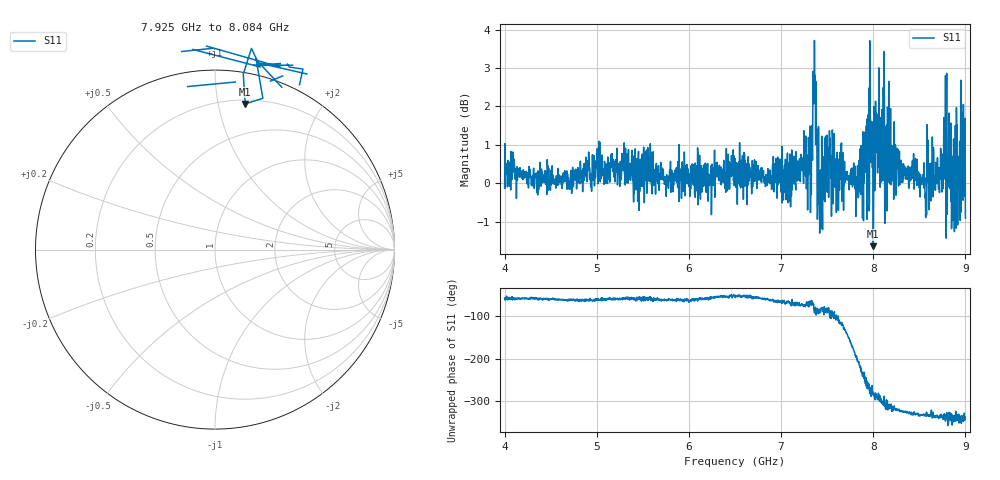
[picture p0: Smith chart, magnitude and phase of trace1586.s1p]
! Created with skrf 1.8.0 (http://scikit-rf.org).
# Hz S RI R 50.0
!freq ReS11 ImS11
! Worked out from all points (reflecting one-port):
!   1601 points, 4 GHz to 9 GHz, reference 50 ohm
!   lowest |S11| = -1.6 dB at 8 GHz (marker M1), VSWR 10.68, Z = 11.6 + j60.1 ohm
!   phase of S11 starts at -57 deg and turns -282 deg over the sweep
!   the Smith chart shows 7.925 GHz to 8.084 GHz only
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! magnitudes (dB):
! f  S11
! 4 GHz  -0.1
! 4.094 GHz  0.4
! 4.625 GHz  -0.1
! 5.016 GHz  0.6
! 5.25 GHz  -0.1
! 5.875 GHz  0.1
! 6.5 GHz  0.5
! 7.125 GHz  0.2
! 7.297 GHz  1.2
! 7.359 GHz  2.5
! 7.412 GHz  -0.5
! 7.438 GHz  -1.2
! 7.509 GHz  -0.2
! 7.75 GHz  0.0
! 7.875 GHz  0.1
! 7.928 GHz  1.3
! 7.962 GHz  3.7
! 7.981 GHz  1.1
! 8 GHz  -1.6
! 8.044 GHz  1.0
! 8.134 GHz  0.5
! 8.216 GHz  0.8
! 8.375 GHz  0.3
! 8.556 GHz  -0.1
! 8.819 GHz  1.3
! 8.875 GHz  0.8
! 8.972 GHz  0.8
! 9 GHz  -0.9
